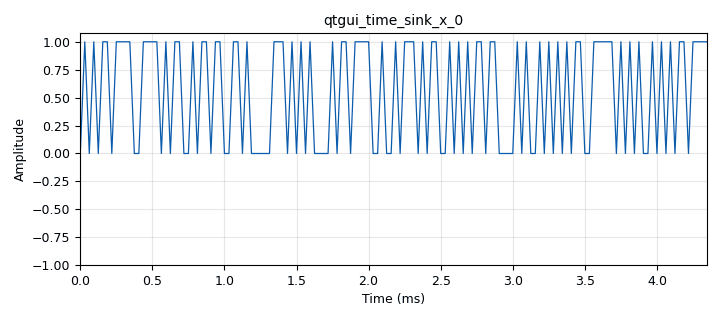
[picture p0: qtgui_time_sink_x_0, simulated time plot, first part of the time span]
options:
  parameters:
    author: parallels
    generate_options: qt_gui
    id: test_xor_ber_block
    output_language: python
    title: test Xor BER
  states: {}

blocks:
- name: decimation
  id: variable
  parameters:
    value: '1000'
  states: {}
- name: samp_rate
  id: variable
  parameters:
    value: '32000'
  states: {}
- name: analog_const_source_x_0
  id: analog_const_source_x
  parameters:
    const: decimation
    type: float
  states: {}
- name: blocks_divide_xx_0
  id: blocks_divide_xx
  parameters:
    type: float
  states: {}
- name: blocks_float_to_uchar_0
  id: blocks_float_to_uchar
  parameters: {}
  states: {}
- name: blocks_float_to_uchar_0_0
  id: blocks_float_to_uchar
  parameters: {}
  states: {}
- name: blocks_integrate_xx_0
  id: blocks_integrate_xx
  parameters:
    decim: decimation
    type: int
  states: {state: disabled}
- name: blocks_integrate_xx_1
  id: blocks_integrate_xx
  parameters:
    decim: decimation
    type: float
  states: {}
- name: blocks_throttle_0
  id: blocks_throttle
  parameters:
    samples_per_second: samp_rate
    type: float
  states: {}
- name: blocks_uchar_to_float_0
  id: blocks_uchar_to_float
  parameters: {}
  states: {}
- name: blocks_vector_source_x_0
  id: blocks_vector_source_x
  parameters:
    repeat: 'False'
    type: float
    vector: (0,1,1,1,0,1,0,1,0,1,0,0,0,0,1,0,1,1,0,1,1,1,1,0,0,1,0,0,1,0,1,1,1,0,1,0,1,1,0,0,1,0,1,0,1,0,1,1,0,1,1,0,0,0,0,1,0,1,0,0,1,0,1,0,1,0,1,0,1,1,0,0,1,1,1,1,1,0,1,0,1,0,1,0,0,1,0,1,1,1,0,1,0,1,0,1,0,0,0,0,1,0,1,1,0,1,1,1,1,0,0,1,0,0,1,0,1,1,1,0,1,0,1,1,0,0,1,0,1,0,1,0,1,1,0,1,1,0,0,0,0,1,0,1,0,0,1,0,1,0,1,0,1,0,1,1,0,0,1,1,1,1,1,0,1,0,1,0,1,0,0,1,0,1,0,1,0,1,1,0,1,1,1,1,0,0,1,1,1,1,0,1,0,1,1,0,0,1,0,1,1,0,1,1,0,0,1,1,0,1,0,0,0,0,0,1,1,1,0,1,0,1,0,1,0,0,0,0,1,0,1,1,0,1,1,1,1,0,0,1,0,0,1,0,1,1,1,0,1,0,1,1,0,0,1,0,1,0,1,0,1,1,0,1,1,0,0,0,0,1,0,1,0,0,1,0,1,0,1,0,1,0,1,1,0,0,1,1,1,1,1,0,1,0,1,0,1,0,0,1,0,1,0,1,0,1,1,0,1,1,1,1,0,0,1,1,1,1,0,1,0,1,1,0,0,1,0,1,1,0,1,1,0,0,1,1,0,1,0,0,0,0,0,1,1,1,0,1,0,1,0,1,0,0,0,0,1,0,1,1,0,1,1,1,1,0,0,1,0,0,1,0,1,1,1,0,1,0,1,1,0,0,1,0,1,0,1,0,1,1,0,1,1,0,0,0,0,1,0,1,0,0,1,0,1,0,1,0,1,0,1,1,0,0,1,1,1,1,1,0,1,0,1,0,1,0,0,1,0,1,0,1,0,1,1,0,1,1,1,1,0,0,1,1,1,1,0,1,0,1,1,0,0,1,0,1,1,0,1,1,0,0,1,1,0,1,0,0,0,0,0,1,1,1,0,1,0,1,0,1,0,0,0,0,1,0,1,1,0,1,1,1,1,0,0,1,0,0,1,0,1,1,1,0,1,0,1,1,0,0,1,0,1,0,1,0,1,1,0,1,1,0,0,0,0,1,0,1,0,0,1,0,1,0,1,0,1,0,1,1,0,0,1,1,1,1,1,0,1,0,1,0,1,0,0,1,0,1,0,1,0,1,1,0,1,1,1,1,0,0,1,1,1,1,0,1,0,1,1,0,0,1,0,1,1,0,1,1,0,0,1,1,0,1,0,0,0,0,0,1,1,1,0,1,0,1,0,1,0,0,0,0,1,0,1,1,0,1,1,1,1,0,0,1,0,0,1,0,1,1,1,0,1,0,1,1,0,0,1,0,1,0,1,0,1,1,0,1,1,0,0,0,0,1,0,1,0,0,1,0,1,0,1,0,1,0,1,1,0,0,1,1,1,1,1,0,1,0,1,0,1,0,0,1,0,1,1,1,0,1,0,1,0,1,0,0,0,0,1,0,1,1,0,1,1,1,1,0,0,1,0,0,1,0,1,1,1,0,1,0,1,1,0,0,1,0,1,0,1,0,1,1,0,1,1,0,0,0,0,1,0,1,0,0,1,0,1,0,1,0,1,0,1,1,0,0,1,1,1,1,1,0,1,0,1,0,1,0,0,1,0,1,0,1,0,1,1,0,1,1,1,1,0,0,1,1,1,1,0,1,0,1,1,0,0,1,0,1,1,0,1,1,0,0,1,1,0,1,0,0,0,0,0,1,1,1,0,1,0,1,0,1,0,0,0,0,1,0,1,1,0,1,1,1,1,0,0,1,0,0,1,0,1,1,1,0,1,0,1,1,0,0,1,0,1,0,1,0,1,1,0,1,1,0,0,0,0,1,0,1,0,0,1,0,1,0,1,0,1,0,1,1,0,0,1,1,1,1,1,0,1,0,1,0,1,0,0,1,0,1,0,1,0,1,1,0,1,1,1,1,0,0,1,1,1,1,0,1,0,1,1,0,0,1,0,1,1,0,1,1,0,0,1,1,0,1,0,0,0,0,0,1,1,1,0,1,0,1,0,1,0,0,0,0,1,0,1,1,0,1,1,1,1,0,0,1,0,0,1,0,1,1,1,0,1,0,1,1,0,0,1,0,1,0,1,0,1,1,0,1,1,0,0,0,0,1,0,1,0,0,1,0,1,0,1,0,1,0,1,1,0,0,1,1,1,1,1,0,1,0,1,0,1,0,0,1,0,1,0,1,0,1,1,0,1,1,1,1,0,0,1,1,1,1,0,1,0,1,1,0,0,1,0,1,1,0,1,1,0,0,1,1,0,1,0,0,0,0,0,1,1,1,0,1,0,1,0,1,0,0,0,0,1,0,1,1,0,1,1,1,1,0,0,1,0,0,1,0,1,1,1,0,1,0,1,1,0,0,1,0,1,0,1,0,1,1,0,1,1,0,0,0,0,1,0,1,0,0,1,0,1,0,1,0,1,0,1,1,0,0,1,1,1,1,1,0,1,0,1,0,1,0,0,1,0,1,0,1,0,1,1,0,1,1,1,1,0,0,1,1,1,1,0,1,0,1,1,0,0,1,0,1,1,0,1,1,0,0,1,1,0,1,0,0,0,0)
  states: {}
- name: blocks_vector_source_x_0_0
  id: blocks_vector_source_x
  parameters:
    repeat: 'False'
    type: float
    vector: (0,1,1,1,0,1,0,1,0,1,0,1,1,0,1,0,1,1,0,1,1,1,1,0,1,1,0,1,1,0,1,1,1,0,1,0,1,1,0,0,1,0,1,0,1,0,1,1,0,1,1,0,0,0,0,1,0,1,0,0,1,0,1,0,1,0,1,0,1,1,0,0,1,1,1,1,1,0,1,0,1,0,1,0,0,1,0,1,1,1,0,1,0,1,0,1,0,0,0,0,1,0,1,1,0,1,1,1,1,0,0,1,0,0,1,0,1,1,1,0,1,0,1,1,0,0,1,0,1,0,1,0,1,1,0,1,1,0,0,0,0,1,0,1,0,0,1,0,1,0,1,0,1,0,1,1,0,0,1,1,1,1,1,0,1,0,1,0,1,0,0,1,0,1,0,1,0,1,1,0,1,1,1,1,0,0,1,1,1,1,0,1,0,1,1,0,0,1,0,1,1,0,1,1,0,0,1,1,0,1,0,0,0,0,0,1,1,1,0,1,0,1,0,1,0,0,0,0,1,0,1,1,0,1,1,1,1,0,0,1,0,0,1,0,1,1,1,0,1,0,1,1,0,0,1,0,1,0,1,0,1,1,0,1,1,0,0,0,0,1,0,1,0,0,1,0,1,0,1,0,1,0,1,1,0,0,1,1,1,1,1,0,1,0,1,0,1,0,0,1,0,1,0,1,0,1,1,0,1,1,1,1,0,0,1,1,1,1,0,1,0,1,1,0,0,1,0,1,1,0,1,1,0,0,1,1,0,1,0,0,0,0,0,1,1,1,0,1,0,1,0,1,0,0,0,0,1,0,1,1,0,1,1,1,1,0,0,1,0,0,1,0,1,1,1,0,1,0,1,1,0,0,1,0,1,0,1,0,1,1,0,1,1,0,0,0,0,1,0,1,0,0,1,0,1,0,1,0,1,0,1,1,0,0,1,1,1,1,1,0,1,0,1,0,1,0,0,1,0,1,0,1,0,1,1,0,1,1,1,1,0,0,1,1,1,1,0,1,0,1,1,0,0,1,0,1,1,0,1,1,0,0,1,1,0,1,0,0,0,0,0,1,1,1,0,1,0,1,0,1,0,0,0,0,1,0,1,1,0,1,1,1,1,0,0,1,0,0,1,0,1,1,1,0,1,0,1,1,0,0,1,0,1,0,1,0,1,1,0,1,1,0,0,0,0,1,0,1,0,0,1,0,1,0,1,0,1,0,1,1,0,0,1,1,1,1,1,0,1,0,1,0,1,0,0,1,0,1,0,1,0,1,1,0,1,1,1,1,0,0,1,1,1,1,0,1,0,1,1,0,0,1,0,1,1,0,1,1,0,0,1,1,0,1,0,0,0,0,0,1,1,1,0,1,0,1,0,1,0,0,0,0,1,0,1,1,0,1,1,1,1,0,0,1,0,0,1,0,1,1,1,0,1,0,1,1,0,0,1,0,1,0,1,0,1,1,0,1,1,0,0,0,0,1,0,1,0,0,1,0,1,0,1,0,1,0,1,1,0,0,1,1,1,1,1,0,1,0,1,0,1,0,0,1,0,1,1,1,0,1,0,1,0,1,0,0,0,0,1,0,1,1,0,1,1,1,1,0,0,1,0,0,1,0,1,1,1,0,1,0,1,1,0,0,1,0,1,0,1,0,1,1,0,1,1,0,0,0,0,1,0,1,0,0,1,0,1,0,1,0,1,0,1,1,0,0,1,1,1,1,1,0,1,0,1,0,1,0,0,1,0,1,0,1,0,1,1,0,1,1,1,1,0,0,1,1,1,1,0,1,0,1,1,0,0,1,0,1,1,0,1,1,0,0,1,1,0,1,0,0,0,0,0,1,1,1,0,1,0,1,0,1,0,0,0,0,1,0,1,1,0,1,1,1,1,0,0,1,0,0,1,0,1,1,1,0,1,0,1,1,0,0,1,0,1,0,1,0,1,1,0,1,1,0,0,0,0,1,0,1,0,0,1,0,1,0,1,0,1,0,1,1,0,0,1,1,1,1,1,0,1,0,1,0,1,0,0,1,0,1,0,1,0,1,1,0,1,1,1,1,0,0,1,1,1,1,0,1,0,1,1,0,0,1,0,1,1,0,1,1,0,0,1,1,0,1,0,0,0,0,0,1,1,1,0,1,0,1,0,1,0,0,0,0,1,0,1,1,0,1,1,1,1,0,0,1,0,0,1,0,1,1,1,0,1,0,1,1,0,0,1,0,1,0,1,0,1,1,0,1,1,0,0,0,0,1,0,1,0,0,1,0,1,0,1,0,1,0,1,1,0,0,1,1,1,1,1,0,1,0,1,0,1,0,0,1,0,1,0,1,0,1,1,0,1,1,1,1,0,0,1,1,1,1,0,1,0,1,1,0,0,1,0,1,1,0,1,1,0,0,1,1,0,1,0,0,0,0,0,1,1,1,0,1,0,1,0,1,0,0,0,0,1,0,1,1,0,1,1,1,1,0,0,1,0,0,1,0,1,1,1,0,1,0,1,1,0,0,1,0,1,0,1,0,1,1,0,1,1,0,0,0,0,1,0,1,0,0,1,0,1,0,1,0,1,0,1,1,0,0,1,1,1,1,1,0,1,0,1,0,1,0,0,1,0,1,0,1,0,1,1,0,1,1,1,1,0,0,1,1,1,1,0,1,0,1,1,0,0,1,0,1,1,0,1,1,0,0,1,1,0,1,0,0,0,0)
  states: {}
- name: blocks_xor_xx_0
  id: blocks_xor_xx
  parameters:
    type: byte
  states: {}
- name: qtgui_number_sink_0
  id: qtgui_number_sink
  parameters:
    graph_type: qtgui.NUM_GRAPH_HORIZ
    type: float
  states: {}
- name: qtgui_time_sink_x_0
  id: qtgui_time_sink_x
  parameters:
    size: '1024'
    srate: samp_rate
    type: float
  states: {}

connections:
- [analog_const_source_x_0, '0', blocks_divide_xx_0, '1']
- [blocks_divide_xx_0, '0', qtgui_number_sink_0, '0']
- [blocks_float_to_uchar_0, '0', blocks_xor_xx_0, '0']
- [blocks_float_to_uchar_0_0, '0', blocks_xor_xx_0, '1']
- [blocks_integrate_xx_1, '0', blocks_divide_xx_0, '0']
- [blocks_throttle_0, '0', qtgui_time_sink_x_0, '0']
- [blocks_uchar_to_float_0, '0', blocks_integrate_xx_1, '0']
- [blocks_vector_source_x_0, '0', blocks_float_to_uchar_0, '0']
- [blocks_vector_source_x_0, '0', blocks_throttle_0, '0']
- [blocks_vector_source_x_0_0, '0', blocks_float_to_uchar_0_0, '0']
- [blocks_xor_xx_0, '0', blocks_uchar_to_float_0, '0']

metadata:
  file_format: 1
